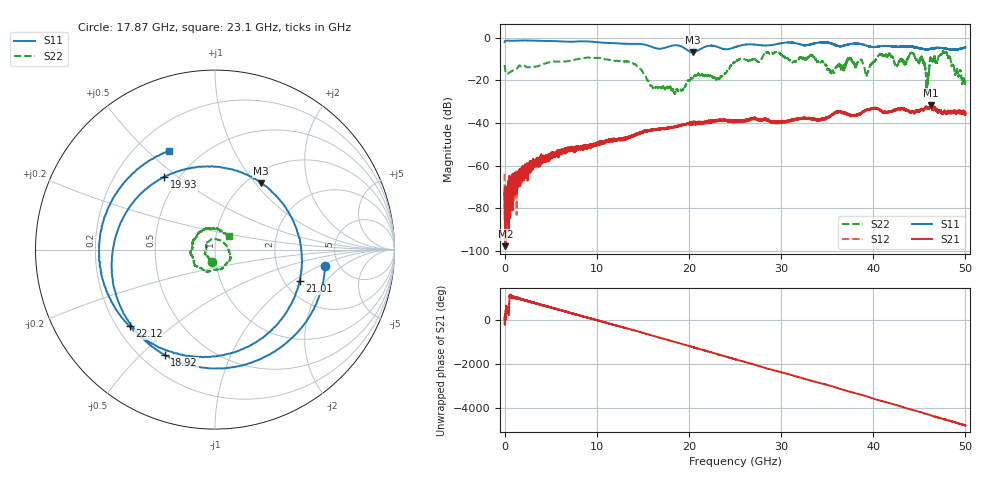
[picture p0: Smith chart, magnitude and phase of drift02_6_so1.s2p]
!Created with skrf (http://scikit-rf.org).
# Hz S RI R 50.0
!freq ReS11 ImS11 ReS21 ImS21 ReS12 ImS12 ReS22 ImS22
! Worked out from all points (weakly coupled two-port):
!   10001 points, 300 kHz to 50 GHz, reference 50 ohm
!   highest |S21| = -31.72 dB at 46.23 GHz (marker M1); lowest = -97.6 dB at 90.3 MHz (marker M2)
!   lowest |S11| = -7.0 dB at 20.43 GHz (marker M3), VSWR 2.63, Z = 57.8 + j53.5 ohm
!   |S11| at or under -10 dB: nowhere
!   |S22| runs from -26.4 to -6.2 dB; largest |S21 - S12| = 0.0035
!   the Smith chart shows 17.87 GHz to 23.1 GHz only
!   S11 on the Smith chart (normalised r, x): 17.87 GHz: 3.90, -1.16; 18.92 GHz: 0.29, -0.59; 19.93 GHz: 0.42, +0.45; 21.01 GHz: 2.41, -1.14; 22.12 GHz: 0.25, -0.36; 23.1 GHz: 0.34, +0.58
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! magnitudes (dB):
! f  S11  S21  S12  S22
! 300 kHz  -2.1  -73.1  -63.8  -12.8
! 90.3 MHz  -1.5  -97.6  -72.8  -16.1
! 2.955 GHz  -1.4  -58.3  -57.6  -13.5
! 8.335 GHz  -1.7  -51.0  -51.5  -9.8
! 13.7 GHz  -3.0  -46.3  -46.1  -11.6
! 16.67 GHz  -5.2  -42.7  -42.8  -23.5
! 17.87 GHz  -4.1  -42.1  -42.0  -22.9
! 18.92 GHz  -3.7  -41.4  -41.3  -24.1
! 19.93 GHz  -6.1  -40.4  -40.4  -20.0
! 20.43 GHz  -7.0  -40.3  -40.2  -18.9
! 21.01 GHz  -6.0  -39.8  -39.9  -16.8
! 22.12 GHz  -3.9  -39.5  -39.3  -17.9
! 23.1 GHz  -4.3  -38.9  -38.6  -19.0
! 25 GHz  -4.5  -39.6  -39.1  -11.4
! 33.34 GHz  -3.0  -38.0  -38.1  -8.4
! 39.31 GHz  -3.8  -33.7  -33.7  -17.3
! 41.67 GHz  -4.0  -34.5  -34.7  -7.8
! 44.24 GHz  -4.2  -34.6  -35.0  -7.4
! 45.84 GHz  -5.5  -32.9  -32.9  -21.0
! 46.23 GHz  -5.3  -31.7  -32.1  -10.0
! 47.75 GHz  -5.0  -34.9  -34.7  -7.0
! 50 GHz  -4.6  -35.9  -36.1  -20.3
